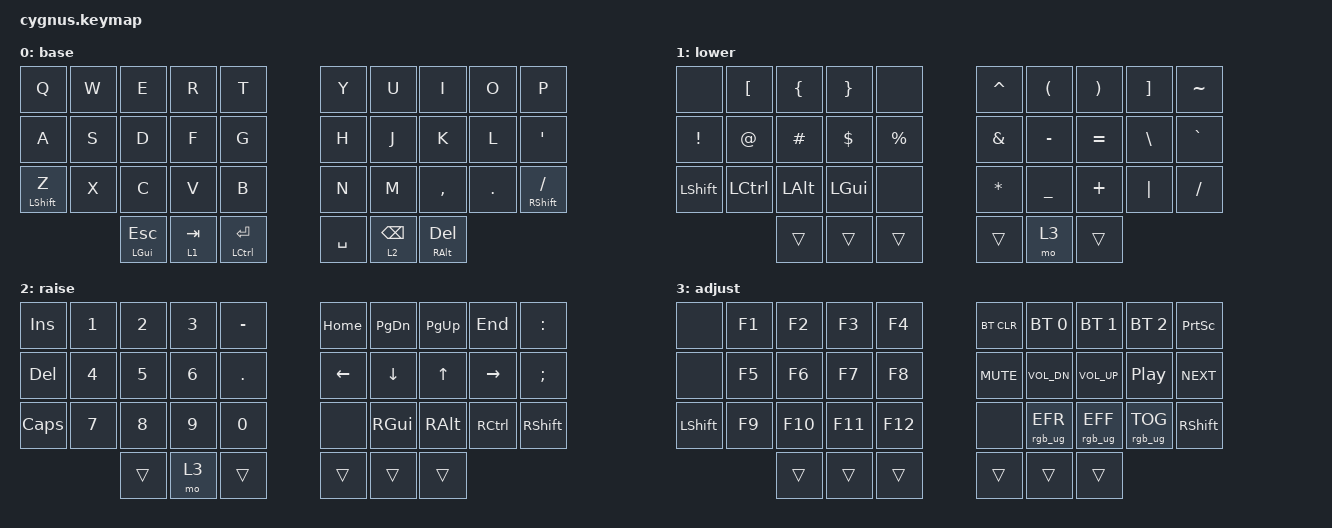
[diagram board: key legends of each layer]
/*
 * Copyright (c) 2020 The ZMK Contributors
 *
 * SPDX-License-Identifier: MIT
 */

#include <behaviors.dtsi>
#include <dt-bindings/zmk/bt.h>
#include <dt-bindings/zmk/keys.h>
#include <dt-bindings/zmk/rgb.h>

&mt {
    tapping-term-ms = <200>;
    flavor = "balanced";
    quick-tap-ms = <200>;
};

/ {
    combos { compatible = "zmk,combos"; };

    behaviors {
        ltq: ltq {
            compatible = "zmk,behavior-hold-tap";
            label = "LTQ";
            #binding-cells = <2>;
            tapping-term-ms = <200>;
            flavor = "hold-preferred";
            bindings = <&mo>, <&kp>;

            quick-tap-ms = <200>;
        };

        mtq: mtq {
            compatible = "zmk,behavior-hold-tap";
            label = "MTQ";
            bindings = <&kp>, <&kp>;

            #binding-cells = <2>;
            tapping-term-ms = <200>;
            quick-tap-ms = <200>;
        };
    };

    keymap {
        compatible = "zmk,keymap";

        base {
            bindings = <
&kp Q                        &kp W              &kp E                    &kp R  &kp T      &kp Y                       &kp U  &kp I      &kp O    &kp P
&kp A                        &kp S              &kp D                    &kp F  &kp G      &kp H                       &kp J  &kp K      &kp L    &kp APOS
&mt LSHIFT Z                 &kp X              &kp C                    &kp V  &kp B      &kp N                       &kp M  &kp COMMA  &kp DOT  &mt RSHIFT SLASH
              &mtq LGUI ESC         &ltq 1 TAB         &mtq LCTRL ENTER         &kp SPACE  &ltq 2 BSPC  &mtq RALT DEL
            >;
        };

        lower {
            bindings = <
&none              &kp LBKT           &kp LBRC          &kp RBRC  &none      &kp CARET          &kp LPAR   &kp RPAR   &kp RBKT  &kp TILDE
&kp EXCL           &kp AT             &kp HASH          &kp DLLR  &kp PRCNT  &kp AMPS           &kp MINUS  &kp EQUAL  &kp BSLH  &kp GRAVE
&kp LSHFT          &kp LCTRL          &kp LALT          &kp LGUI  &none      &kp ASTRK          &kp UNDER  &kp PLUS   &kp PIPE  &kp FSLH
           &trans             &trans            &trans            &trans     &mo 3      &trans
            >;
        };

        raise {
            bindings = <
&kp INS           &kp N1         &kp N2          &kp N3  &kp MINUS  &kp HOME          &kp PG_DN  &kp PG_UP  &kp END    &kp COLON
&kp DEL           &kp N4         &kp N5          &kp N6  &kp DOT    &kp LEFT          &kp DOWN   &kp UP     &kp RIGHT  &kp SEMI
&kp CAPS          &kp N7         &kp N8          &kp N9  &kp N0     &none             &kp RGUI   &kp RALT   &kp RCTRL  &kp RSHFT
          &trans          &mo 3          &trans          &trans     &trans    &trans
            >;
        };

        adjust {
            bindings = <
&none               &kp F1          &kp F2           &kp F3   &kp F4   &bt BT_CLR          &bt BT_SEL 0     &bt BT_SEL 1     &bt BT_SEL 2     &kp PSCRN
&none               &kp F5          &kp F6           &kp F7   &kp F8   &kp C_MUTE          &kp C_VOL_DN     &kp C_VOL_UP     &kp C_PP         &kp C_NEXT
&kp LSHIFT          &kp F9          &kp F10          &kp F11  &kp F12  &none               &rgb_ug RGB_EFR  &rgb_ug RGB_EFF  &rgb_ug RGB_TOG  &kp RSHIFT
            &trans          &trans           &trans           &trans   &trans      &trans
            >;
        };
    };
};
